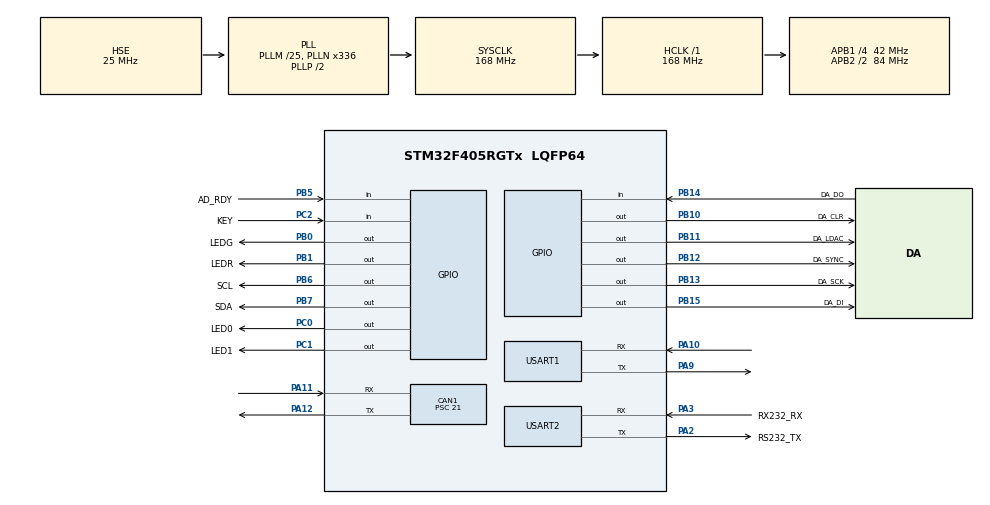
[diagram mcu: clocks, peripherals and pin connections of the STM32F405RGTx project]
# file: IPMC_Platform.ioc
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CAN1.BS1=CAN_BS1_8TQ
CAN1.BS2=CAN_BS2_6TQ
CAN1.CalculateTimeQuantum=500.0
CAN1.Prescaler=21
Mcu.Family=STM32F4
Mcu.Name=STM32F405RGTx
Mcu.Package=LQFP64
NVIC.CAN1_RX0_IRQn=true\:3\:0\:true\:true\:true\:4\:true
NVIC.CAN1_RX1_IRQn=true\:4\:0\:true\:true\:true\:5\:true
NVIC.PriorityGroup=NVIC_PRIORITYGROUP_4
NVIC.TIM6_DAC_IRQn=true\:0\:0\:true\:true\:true\:1\:true
NVIC.USART1_IRQn=true\:1\:0\:true\:true\:true\:2\:true
NVIC.USART2_IRQn=true\:2\:0\:true\:true\:true\:3\:true
PA10.Mode=Asynchronous
PA10.Signal=USART1_RX
PA11.Mode=Master
PA11.Signal=CAN1_RX
PA12.Mode=Master
PA12.Signal=CAN1_TX
PA2.GPIO_Label=RS232_TX
PA2.Mode=Asynchronous
PA2.Signal=USART2_TX
PA3.GPIO_Label=RX232_RX
PA3.Mode=Asynchronous
PA3.Signal=USART2_RX
PA9.Mode=Asynchronous
PA9.Signal=USART1_TX
PB0.GPIO_Label=LEDG
PB0.PinState=GPIO_PIN_SET
PB0.Signal=GPIO_Output
PB1.GPIO_Label=LEDR
PB1.PinState=GPIO_PIN_SET
PB1.Signal=GPIO_Output
PB10.GPIO_Label=DA_CLR
PB10.GPIO_Speed=GPIO_SPEED_FREQ_VERY_HIGH
PB10.Signal=GPIO_Output
PB11.GPIO_Label=DA_LDAC
PB11.GPIO_Speed=GPIO_SPEED_FREQ_VERY_HIGH
PB11.Signal=GPIO_Output
PB12.GPIO_Label=DA_SYNC
PB12.GPIO_Speed=GPIO_SPEED_FREQ_VERY_HIGH
PB12.Signal=GPIO_Output
PB13.GPIO_Label=DA_SCK
PB13.GPIO_Speed=GPIO_SPEED_FREQ_VERY_HIGH
PB13.Signal=GPIO_Output
PB14.GPIO_Label=DA_DO
PB14.Signal=GPIO_Input
PB15.GPIO_Label=DA_DI
PB15.GPIO_Speed=GPIO_SPEED_FREQ_VERY_HIGH
PB15.Signal=GPIO_Output
PB5.GPIO_Label=AD_RDY
PB5.GPIO_PuPd=GPIO_PULLUP
PB5.Signal=GPIO_Input
PB6.GPIO_Label=SCL
PB6.GPIO_ModeDefaultOutputPP=GPIO_MODE_OUTPUT_OD
PB6.GPIO_Speed=GPIO_SPEED_FREQ_VERY_HIGH
PB6.Signal=GPIO_Output
PB7.GPIO_Label=SDA
PB7.GPIO_ModeDefaultOutputPP=GPIO_MODE_OUTPUT_OD
PB7.GPIO_Speed=GPIO_SPEED_FREQ_VERY_HIGH
PB7.Signal=GPIO_Output
PC0.GPIO_Label=LED0
PC0.PinState=GPIO_PIN_SET
PC0.Signal=GPIO_Output
PC1.GPIO_Label=LED1
PC1.PinState=GPIO_PIN_SET
PC1.Signal=GPIO_Output
PC2.GPIO_Label=KEY
PC2.GPIO_PuPd=GPIO_PULLUP
PC2.Signal=GPIO_Input
PH0-OSC_IN.Mode=HSE-External-Oscillator
PH0-OSC_IN.Signal=RCC_OSC_IN
PH1-OSC_OUT.Mode=HSE-External-Oscillator
PH1-OSC_OUT.Signal=RCC_OSC_OUT
ProjectManager.HeapSize=0x400
ProjectManager.StackSize=0x600
ProjectManager.TargetToolchain=EWARM
RCC.48MHZClocksFreq_Value=84000000
RCC.AHBFreq_Value=168000000
RCC.APB1CLKDivider=RCC_HCLK_DIV4
RCC.APB1Freq_Value=42000000
RCC.APB1TimFreq_Value=84000000
RCC.APB2CLKDivider=RCC_HCLK_DIV2
RCC.APB2Freq_Value=84000000
RCC.APB2TimFreq_Value=168000000
RCC.CortexFreq_Value=168000000
RCC.HCLKFreq_Value=168000000
RCC.HSE_VALUE=25000000
RCC.HSI_VALUE=16000000
RCC.LSE_VALUE=32768
RCC.PLLM=25
RCC.PLLN=336
RCC.PLLSourceVirtual=RCC_PLLSOURCE_HSE
RCC.SYSCLKFreq_VALUE=168000000
RCC.SYSCLKSource=RCC_SYSCLKSOURCE_PLLCLK
RCC.VCOOutputFreq_Value=336000000
TIM6.Period=100
TIM6.Prescaler=839
USART1.VirtualMode=VM_ASYNC
USART2.VirtualMode=VM_ASYNC
VP_TIM6_VS_ClockSourceINT.Mode=Enable_Timer
board=IPMC_Platform

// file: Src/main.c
/**
  ******************************************************************************
  * @file           : main.c
  * @brief          : Main program body
  ******************************************************************************
  ** This notice applies to any and all portions of this file
  * that are not between comment pairs USER CODE BEGIN and
  * USER CODE END. Other portions of this file, whether
  * inserted by the user or by software development tools
  * are owned by their respective copyright owners.
  *
  * COPYRIGHT(c) 2018 STMicroelectronics
  *
  * Redistribution and use in source and binary forms, with or without modification,
  * are permitted provided that the following conditions are met:
  *   1. Redistributions of source code must retain the above copyright notice,
  *      this list of conditions and the following disclaimer.
  *   2. Redistributions in binary form must reproduce the above copyright notice,
  *      this list of conditions and the following disclaimer in the documentation
  *      and/or other materials provided with the distribution.
  *   3. Neither the name of STMicroelectronics nor the names of its contributors
  *      may be used to endorse or promote products derived from this software
  *      without specific prior written permission.
  *
  * THIS SOFTWARE IS PROVIDED BY THE COPYRIGHT HOLDERS AND CONTRIBUTORS "AS IS"
  * AND ANY EXPRESS OR IMPLIED WARRANTIES, INCLUDING, BUT NOT LIMITED TO, THE
  * IMPLIED WARRANTIES OF MERCHANTABILITY AND FITNESS FOR A PARTICULAR PURPOSE ARE
  * DISCLAIMED. IN NO EVENT SHALL THE COPYRIGHT HOLDER OR CONTRIBUTORS BE LIABLE
  * FOR ANY DIRECT, INDIRECT, INCIDENTAL, SPECIAL, EXEMPLARY, OR CONSEQUENTIAL
  * DAMAGES (INCLUDING, BUT NOT LIMITED TO, PROCUREMENT OF SUBSTITUTE GOODS OR
  * SERVICES; LOSS OF USE, DATA, OR PROFITS; OR BUSINESS INTERRUPTION) HOWEVER
  * CAUSED AND ON ANY THEORY OF LIABILITY, WHETHER IN CONTRACT, STRICT LIABILITY,
  * OR TORT (INCLUDING NEGLIGENCE OR OTHERWISE) ARISING IN ANY WAY OUT OF THE USE
  * OF THIS SOFTWARE, EVEN IF ADVISED OF THE POSSIBILITY OF SUCH DAMAGE.
  *
  ******************************************************************************
  */
#include "main.h"
#include "stm32f4xx_hal.h"
#include "can.h"
#include "tim.h"
#include "usart.h"
#include "gpio.h"

/* USER CODE BEGIN Includes */
#include "AD5722.h"
#include "protocol.h"
#include "ADS1115.h"
#include "task.h"
#include "usart.h"
#include "wave.h"
#include "queue.h"
/* USER CODE END Includes */

/* USER CODE BEGIN PV */
/* Private variables ---------------------------------------------------------*/
uint8_t UART1_Rev;
uint8_t BoardID=0x00;

/* USER CODE END PV */

void SystemClock_Config(void);
static void MX_NVIC_Init(void);

/* USER CODE BEGIN PFP */
/* Private function prototypes -----------------------------------------------*/

/* USER CODE END PFP */

int main(void)
{
  /* USER CODE BEGIN 1 */
  Queue_Init(&UART_RXqueue);
  Queue_Init(&CAN_RXqueue);
  /* USER CODE END 1 */

  /* MCU Configuration----------------------------------------------------------*/

  /* Reset of all peripherals, Initializes the Flash interface and the Systick. */
  HAL_Init();

  /* Configure the system clock */
  SystemClock_Config();

  /* Initialize all configured peripherals */
  MX_GPIO_Init();
  MX_USART1_UART_Init();
  MX_TIM6_Init();
  MX_USART2_UART_Init();
  MX_CAN1_Init();

  /* Initialize interrupts */
  MX_NVIC_Init();
  /* USER CODE BEGIN 2 */
  //CAN boardrate 42M/((6+8+1)*6)=500Kbps
  HAL_CAN_Start(&hcan1);
  HAL_TIM_Base_Start_IT(&htim6);
  __HAL_CAN_ENABLE_IT(&hcan1,CAN_IT_RX_FIFO0_MSG_PENDING);
  __HAL_UART_ENABLE_IT(&huart1,UART_IT_RXNE);
  AD5722_Init();
  TaskInitVariable();
  /* USER CODE END 2 */

  /* Infinite loop */
  /* USER CODE BEGIN WHILE */
  while (1)
  {
//    TaskIdle(&T_DAC);
    DealQueueBuff(&UART_RXqueue);
    DealQueueBuff(&CAN_RXqueue);
    TaskDAC(&T_DAC);
    TaskADC(&T_ADC);
    //    TaskToPC(&T_ToPC);
    TaskDebug(&T_DEBUG);
    /* USER CODE END WHILE */

  }

}

void SystemClock_Config(void)
{

  RCC_OscInitTypeDef RCC_OscInitStruct;
  RCC_ClkInitTypeDef RCC_ClkInitStruct;

    /**Configure the main internal regulator output voltage
    */
  __HAL_RCC_PWR_CLK_ENABLE();

  __HAL_PWR_VOLTAGESCALING_CONFIG(PWR_REGULATOR_VOLTAGE_SCALE1);

    /**Initializes the CPU, AHB and APB busses clocks
    */
  RCC_OscInitStruct.OscillatorType = RCC_OSCILLATORTYPE_HSE;
  RCC_OscInitStruct.HSEState = RCC_HSE_ON;
  RCC_OscInitStruct.PLL.PLLState = RCC_PLL_ON;
  RCC_OscInitStruct.PLL.PLLSource = RCC_PLLSOURCE_HSE;
  RCC_OscInitStruct.PLL.PLLM = 25;
  RCC_OscInitStruct.PLL.PLLN = 336;
  RCC_OscInitStruct.PLL.PLLP = RCC_PLLP_DIV2;
  RCC_OscInitStruct.PLL.PLLQ = 4;
  if (HAL_RCC_OscConfig(&RCC_OscInitStruct) != HAL_OK)
  {
    _Error_Handler(__FILE__, __LINE__);
  }

    /**Initializes the CPU, AHB and APB busses clocks
    */
  RCC_ClkInitStruct.ClockType = RCC_CLOCKTYPE_HCLK|RCC_CLOCKTYPE_SYSCLK
                              |RCC_CLOCKTYPE_PCLK1|RCC_CLOCKTYPE_PCLK2;
  RCC_ClkInitStruct.SYSCLKSource = RCC_SYSCLKSOURCE_PLLCLK;
  RCC_ClkInitStruct.AHBCLKDivider = RCC_SYSCLK_DIV1;
  RCC_ClkInitStruct.APB1CLKDivider = RCC_HCLK_DIV4;
  RCC_ClkInitStruct.APB2CLKDivider = RCC_HCLK_DIV2;

  if (HAL_RCC_ClockConfig(&RCC_ClkInitStruct, FLASH_LATENCY_5) != HAL_OK)
  {
    _Error_Handler(__FILE__, __LINE__);
  }

    /**Configure the Systick interrupt time
    */
  HAL_SYSTICK_Config(HAL_RCC_GetHCLKFreq()/1000);

    /**Configure the Systick
    */
  HAL_SYSTICK_CLKSourceConfig(SYSTICK_CLKSOURCE_HCLK);

  /* SysTick_IRQn interrupt configuration */
  HAL_NVIC_SetPriority(SysTick_IRQn, 0, 0);
}

/**
  * @brief NVIC Configuration.
  * @retval None
  */
static void MX_NVIC_Init(void)
{
  /* TIM6_DAC_IRQn interrupt configuration */
  HAL_NVIC_SetPriority(TIM6_DAC_IRQn, 0, 0);
  HAL_NVIC_EnableIRQ(TIM6_DAC_IRQn);
  /* USART1_IRQn interrupt configuration */
  HAL_NVIC_SetPriority(USART1_IRQn, 1, 0);
  HAL_NVIC_EnableIRQ(USART1_IRQn);
  /* USART2_IRQn interrupt configuration */
  HAL_NVIC_SetPriority(USART2_IRQn, 2, 0);
  HAL_NVIC_EnableIRQ(USART2_IRQn);
  /* CAN1_RX0_IRQn interrupt configuration */
  HAL_NVIC_SetPriority(CAN1_RX0_IRQn, 3, 0);
  HAL_NVIC_EnableIRQ(CAN1_RX0_IRQn);
  /* CAN1_RX1_IRQn interrupt configuration */
  HAL_NVIC_SetPriority(CAN1_RX1_IRQn, 4, 0);
  HAL_NVIC_EnableIRQ(CAN1_RX1_IRQn);
}

void _Error_Handler(char *file, int line)
{
  while(1)
  {
  }
}

/************************ (C) COPYRIGHT STMicroelectronics *****END OF FILE****/
